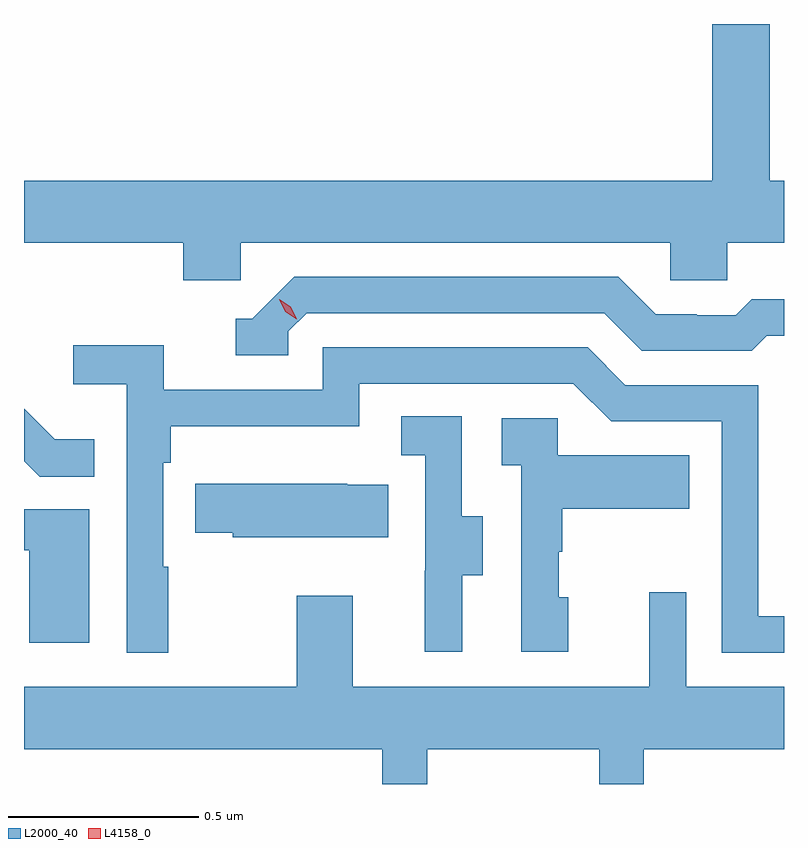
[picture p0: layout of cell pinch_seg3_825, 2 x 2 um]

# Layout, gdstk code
import gdstk
lib = gdstk.Library(unit=1e-6, precision=1e-09)
def P(c, l, *ps):  # polygons
    for p in ps: c.add(gdstk.Polygon(p, *l))
L2000_40 = (2000, 40)
L4158_0 = (4158, 0)

pinch_seg3_825 = lib.new_cell('pinch_seg3_825')
P(pinch_seg3_825, L2000_40, [(863.424,727.556),(864.555,727.556),(864.555,727.458),(864.705,727.458),(864.705,727.556),(864.854,727.556),(864.854,727.72),(864.817,727.72),(864.817,728.132),(864.665,728.132),(864.665,727.72),(862.854,727.72),(862.854,727.556),(863.273,727.556),(863.273,727.458),(863.424,727.458)],
  [(863.55,727.323),(863.598,727.371),(864.381,727.371),(864.48,727.272),(864.769,727.272),(864.808,727.311),(864.854,727.311),(864.854,727.408),(864.769,727.408),(864.727,727.365),(864.624,727.365),(864.624,727.368),(864.517,727.368),(864.418,727.467),(863.565,727.467),(863.454,727.356),(863.411,727.356),(863.411,727.26),(863.55,727.26)],
  [(863.233,726.704),(863.22,726.704),(863.22,726.977),(863.24,726.977),(863.24,727.073),(863.736,727.073),(863.736,727.185),(864.3,727.185),(864.399,727.086),(864.69,727.086),(864.69,726.477),(864.854,726.477),(864.854,726.573),(864.786,726.573),(864.786,727.182),(864.436,727.182),(864.337,727.281),(863.64,727.281),(863.64,727.17),(863.222,727.17),(863.222,727.286),(862.983,727.286),(862.983,727.184),(863.124,727.184),(863.124,726.477),(863.233,726.477)],
  [(863.039,727.039),(862.935,727.039),(862.854,727.12),(862.854,726.981),(862.895,726.94),(863.039,726.94)],
  [(864.007,726.682),(864.061,726.682),(864.061,726.837),(864.006,726.837),(864.006,727.1),(863.847,727.1),(863.847,726.997),(863.91,726.997),(863.91,726.693),(863.909,726.693),(863.909,726.48),(864.007,726.48)],
  [(864.286,726.624),(864.261,726.624),(864.261,726.743),(864.271,726.743),(864.271,726.857),(864.605,726.857),(864.605,726.997),(864.258,726.997),(864.258,727.095),(864.111,727.095),(864.111,726.971),(864.162,726.971),(864.162,726.48),(864.286,726.48)],
  [(863.813,726.919),(863.705,726.919),(863.705,726.922),(863.305,726.922),(863.305,726.793),(863.403,726.793),(863.403,726.782),(863.813,726.782)],
  [(863.026,726.855),(862.854,726.855),(862.854,726.747),(862.868,726.747),(862.868,726.504),(863.026,726.504)],
  [(863.915,726.224),(864.368,726.224),(864.368,726.132),(864.485,726.132),(864.485,726.224),(864.854,726.224),(864.854,726.388),(864.597,726.388),(864.597,726.637),(864.5,726.637),(864.5,726.388),(863.719,726.388),(863.719,726.628),(863.572,726.628),(863.572,726.388),(862.854,726.388),(862.854,726.224),(863.797,726.224),(863.797,726.132),(863.915,726.132)])
P(pinch_seg3_825, L4158_0, [(863.572,727.355),(863.542,727.375),(863.526,727.408),(863.526,727.408),(863.526,727.408),(863.556,727.388),(863.572,727.356),(863.572,727.355)])

lib.write_gds('pinch_seg3_825.gds')
